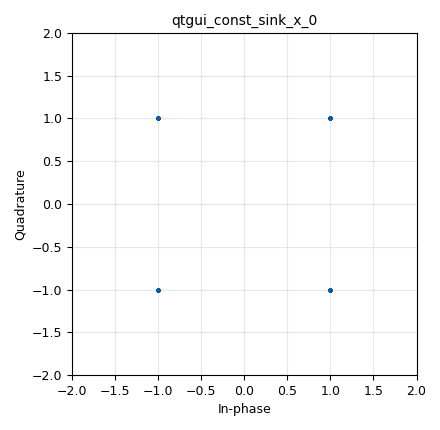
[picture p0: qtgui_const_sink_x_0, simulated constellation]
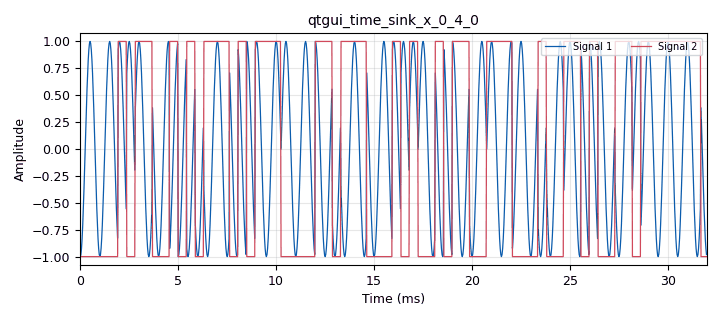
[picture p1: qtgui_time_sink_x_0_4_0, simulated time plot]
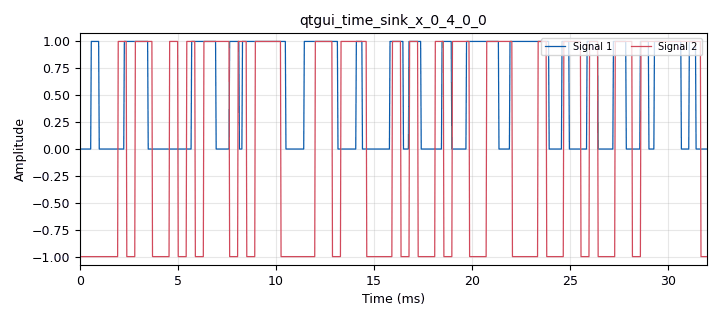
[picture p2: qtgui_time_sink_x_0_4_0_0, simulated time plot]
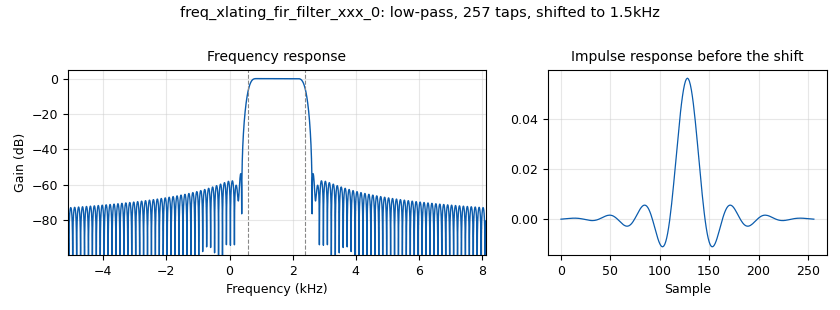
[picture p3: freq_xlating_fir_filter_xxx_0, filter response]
options:
  parameters:
    generate_options: qt_gui
    id: QPSK
    output_language: python
    title: QPSK
  states: {}

blocks:
- name: btis_per_chunk_qpsk
  id: variable
  parameters:
    value: '2'
  states: {}
- name: delay
  id: variable_qtgui_range
  parameters:
    start: '0'
    step: '1'
    stop: '100'
    value: '0'
  states: {}
- name: qpsk
  id: variable
  parameters:
    value: '[ -1-1j,-1+1j,+1-1j,1+1j ]'
  states: {}
- name: samp_rate
  id: variable
  parameters:
    value: '32000'
  states: {}
- name: analog_quadrature_demod_cf_0
  id: analog_quadrature_demod_cf
  parameters:
    gain: '10'
  states: {}
- name: analog_random_source_x_0_0_0_0_0
  id: analog_random_source_x
  parameters:
    max: '255'
    min: '0'
    num_samps: '1000'
    repeat: 'True'
    type: byte
  states: {}
- name: analog_sig_source_x_0
  id: analog_sig_source_x
  parameters:
    amp: '1'
    freq: '1000'
    offset: '0'
    phase: '0'
    samp_rate: samp_rate
    type: float
    waveform: analog.GR_COS_WAVE
  states: {}
- name: blocks_char_to_float_0
  id: blocks_char_to_float
  parameters:
    scale: '1'
  states: {}
- name: blocks_complex_to_float_0_0
  id: blocks_complex_to_float
  parameters: {}
  states: {}
- name: blocks_delay_0
  id: blocks_delay
  parameters:
    delay: delay
    type: float
  states: {}
- name: blocks_multiply_xx_0
  id: blocks_multiply_xx
  parameters:
    type: float
  states: {}
- name: blocks_packed_to_unpacked_xx_0
  id: blocks_packed_to_unpacked_xx
  parameters:
    bits_per_chunk: '2'
    endianness: gr.GR_MSB_FIRST
    type: byte
  states: {}
- name: blocks_repeat_0
  id: blocks_repeat
  parameters:
    interp: '14'
    type: complex
  states: {}
- name: digital_binary_slicer_fb_0
  id: digital_binary_slicer_fb
  parameters: {}
  states: {}
- name: digital_chunks_to_symbols_xx_0
  id: digital_chunks_to_symbols_xx
  parameters:
    dimension: '1'
    in_type: byte
    out_type: complex
    symbol_table: qpsk
  states: {}
- name: freq_xlating_fir_filter_xxx_0
  id: freq_xlating_fir_filter_xxx
  parameters:
    center_freq: 1.5e3
    decim: '1'
    samp_rate: samp_rate
    taps: ' firdes.low_pass(1.0,samp_rate,900,300)'
    type: fcc
  states: {}
- name: qtgui_const_sink_x_0
  id: qtgui_const_sink_x
  parameters:
    size: '1024'
    type: complex
  states: {}
- name: qtgui_time_sink_x_0_4_0
  id: qtgui_time_sink_x
  parameters:
    nconnections: '2'
    size: '1024'
    srate: samp_rate
    type: float
  states: {}
- name: qtgui_time_sink_x_0_4_0_0
  id: qtgui_time_sink_x
  parameters:
    nconnections: '2'
    size: '1024'
    srate: samp_rate
    type: float
  states: {}

connections:
- [analog_quadrature_demod_cf_0, '0', digital_binary_slicer_fb_0, '0']
- [analog_random_source_x_0_0_0_0_0, '0', blocks_packed_to_unpacked_xx_0, '0']
- [analog_sig_source_x_0, '0', blocks_multiply_xx_0, '0']
- [blocks_char_to_float_0, '0', blocks_delay_0, '0']
- [blocks_complex_to_float_0_0, '0', blocks_multiply_xx_0, '1']
- [blocks_complex_to_float_0_0, '0', qtgui_time_sink_x_0_4_0, '1']
- [blocks_complex_to_float_0_0, '0', qtgui_time_sink_x_0_4_0_0, '1']
- [blocks_delay_0, '0', qtgui_time_sink_x_0_4_0_0, '0']
- [blocks_multiply_xx_0, '0', freq_xlating_fir_filter_xxx_0, '0']
- [blocks_multiply_xx_0, '0', qtgui_time_sink_x_0_4_0, '0']
- [blocks_packed_to_unpacked_xx_0, '0', digital_chunks_to_symbols_xx_0, '0']
- [blocks_repeat_0, '0', blocks_complex_to_float_0_0, '0']
- [digital_binary_slicer_fb_0, '0', blocks_char_to_float_0, '0']
- [digital_chunks_to_symbols_xx_0, '0', blocks_repeat_0, '0']
- [digital_chunks_to_symbols_xx_0, '0', qtgui_const_sink_x_0, '0']
- [freq_xlating_fir_filter_xxx_0, '0', analog_quadrature_demod_cf_0, '0']

metadata:
  file_format: 1
  grc_version: 3.10.10.0
